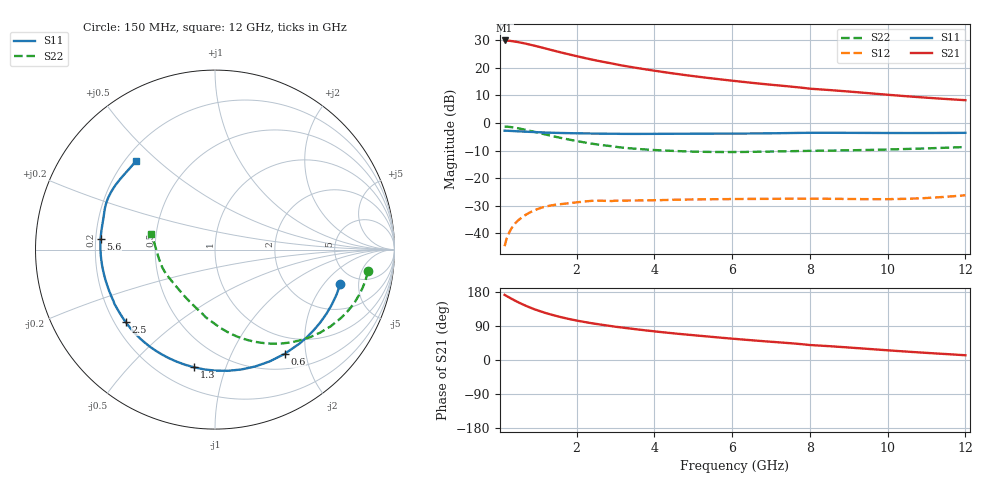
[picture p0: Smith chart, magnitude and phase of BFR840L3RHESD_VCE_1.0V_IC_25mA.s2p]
! Infineon Technologies  Discrete & RF Semiconductors
! BFR840L3RHESD
! VCE =  1.0 V,  IC =  25 mA
! Common Emitter S-Parameters:  Jun 2012
# GHz  S  MA  R  50
!  f  S11  S21  S12  S22
! GHz  MAG  ANG  MAG  ANG  MAG  ANG  MAG  ANG
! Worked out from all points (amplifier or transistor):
!   91 points, 150 MHz to 12 GHz, reference 50 ohm
!   highest |S21| = 29.8 dB at 150 MHz (marker M1)
!   |S21| within 3 dB of that: start of sweep to 1.227 GHz
!   unconditionally stable (mu >= 1): 5.456 GHz to end of sweep
!   at 1.3 GHz: K = 0.28, MSG = 28.3 dB, |S12| = -30.0 dB
!   at 4.3 GHz: K = 0.80, MSG = 23.1 dB, |S12| = -27.9 dB
!   at 12 GHz: K = 2.08, MAG = 11.3 dB, |S12| = -26.2 dB
!   S11 on the Smith chart (normalised r, x): 150 MHz: 3.69, -3.00; 600 MHz: 0.72, -1.63; 1.3 GHz: 0.33, -0.78; 2.5 GHz: 0.25, -0.34; 5.6 GHz: 0.22, +0.05; 12 GHz: 0.24, +0.42
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0.15  0.7239 -15.5  30.97 171.8  0.0059 71.6  0.8601 -8.1
0.25  0.7194 -25.3  30.65 166.0  0.0098 70.5  0.8499 -14.4
0.4  0.7101 -39.3  29.69 157.7  0.0146 67.9  0.8221 -23.2
0.5  0.7041 -48.1  28.87 152.4  0.0173 65.3  0.7987 -28.5
0.6  0.6986 -56.3  27.97 147.5  0.0197 62.1  0.7731 -33.6
0.7  0.6935 -63.9  27.02 142.9  0.0219 58.7  0.7465 -38.3
0.9  0.6838 -77.7  25.07 134.6  0.026 52.2  0.6928 -46.9
1.1  0.6745 -89.7  23.12 127.5  0.0293 46.6  0.6416 -54.6
1.3  0.6662 -100.1  21.27 121.2  0.0317 42.2  0.5949 -61.4
1.5  0.6596 -109.2  19.58 115.7  0.0334 38.7  0.5535 -67.5
1.7  0.6548 -117.1  18.08 110.7  0.0346 35.8  0.5172 -73.0
1.9  0.651 -124.1  16.74 106.2  0.0359 33.3  0.4853 -78.0
2.2  0.6459 -133.1  14.98 100.4  0.0379 30.4  0.444 -84.8
2.5  0.641 -140.8  13.48 95.3  0.0392 28.5  0.4105 -90.8
3.2  0.6335 -155.2  10.83 85.3  0.0394 25.3  0.3566 -103.1
4.2  0.6344 -169.9  8.383 73.4  0.0402 23.1  0.3181 -118.1
5.6  0.6402 174.5  6.243 59.9  0.0417 22.4  0.2979 -136.7
6.1  0.6417 169.8  5.697 55.5  0.042 22.3  0.2977 -142.7
8  0.6616 153.8  4.157 39.5  0.0427 23.3  0.3124 -165.4
8.5  0.662 150.6  3.931 36.5  0.0424 23.7  0.3153 -169.4
10.5  0.656 138.4  3.029 22.1  0.0424 31.7  0.3377 174.8
12  0.661 131.9  2.573 12.5  0.0491 37.7  0.3664 165.9
